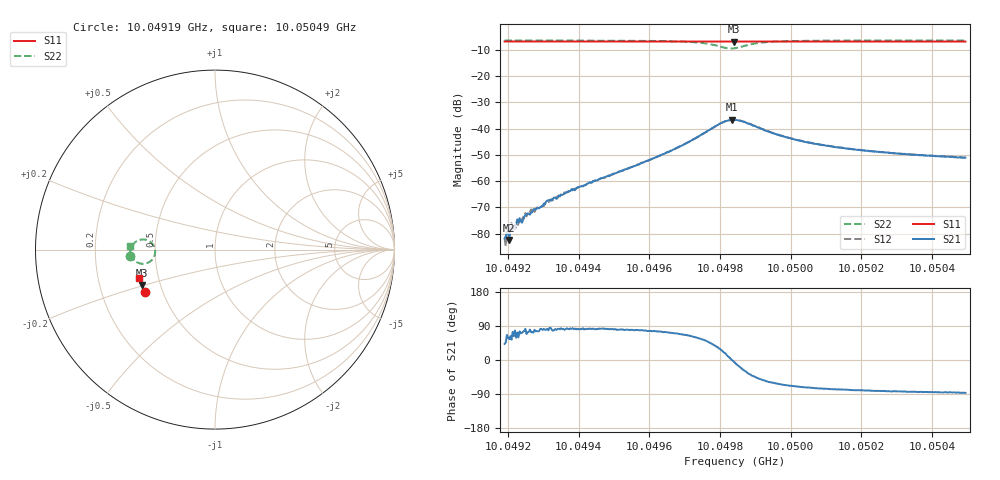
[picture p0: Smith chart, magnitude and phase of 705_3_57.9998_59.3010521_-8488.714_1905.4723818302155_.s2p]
#  HZ  S  RI  R  50.00
! Rohde & Schwarz Vector Network Analyzer
! Rohde-Schwarz,ZNB20-2Port,1311601062101988,3.16
! Created: UTC 3/21/2024, 1:21:57 AM
! freq[Hz]  re:S11  im:S11  re:S21  im:S21  re:S12  im:S12  re:S22  im:S22
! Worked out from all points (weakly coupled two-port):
!   401 points, 10.04919 GHz to 10.05049 GHz, reference 50 ohm
!   highest |S21| = -36.66 dB at 10.04983 GHz (marker M1); lowest = -82.4 dB at 10.0492 GHz (marker M2)
!   lowest |S11| = -6.9 dB at 10.04984 GHz (marker M3), VSWR 2.65, Z = 19.7 - j9.86 ohm
!   |S11| at or under -10 dB: nowhere
!   |S22| runs from -9.5 to -6.5 dB; largest |S21 - S12| = 0.0014
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1.004919e10  -0.3878 -0.2369  6e-05 5.49e-05  4.87e-05 6.3e-05  -0.4736 -0.0369
1.0049197e10  -0.388 -0.2365  4.45e-05 0.0001  3.21e-05 8.17e-05  -0.4737 -0.0363
1.0049203e10  -0.3883 -0.2362  4.32e-05 6.2e-05  5.01e-05 0.000103  -0.4737 -0.0358
1.004921e10  -0.3884 -0.2356  6.77e-05 9.16e-05  8.51e-05 0.000134  -0.4736 -0.0352
1.0049226e10  -0.389 -0.2347  5.55e-05 0.000178  5.09e-05 0.000124  -0.4736 -0.0339
1.0049236e10  -0.3893 -0.2343  5.76e-05 0.00016  8.49e-06 0.00016  -0.4736 -0.0329
1.0049255e10  -0.39 -0.233  7.16e-05 0.000233  3.42e-05 0.000247  -0.4737 -0.0311
1.0049291e10  -0.3911 -0.231  4.54e-05 0.000317  4.91e-05 0.000309  -0.4736 -0.0278
1.0049314e10  -0.392 -0.2296  8.63e-05 0.000418  4.9e-05 0.000393  -0.4734 -0.0256
1.0049409e10  -0.3948 -0.2241  0.000122 0.000793  7.26e-05 0.000795  -0.4727 -0.0157
1.0049627e10  -0.4013 -0.2111  0.000761 0.00289  0.000592 0.00293  -0.4635 0.0179
1.0049699e10  -0.4033 -0.2067  0.00198 0.0046  0.0017 0.00474  -0.449 0.0374
1.0049777e10  -0.4049 -0.2016  0.00743 0.00685  0.00695 0.00728  -0.3936 0.0563
1.004981e10  -0.4054 -0.1998  0.0124 0.00475  0.0119 0.00561  -0.349 0.0321
1.0049832e10  -0.4057 -0.199  0.0147 0.000117  0.0145 0.00148  -0.3333 -0.0121
1.0049839e10  -0.4057 -0.1987  0.0146 -0.00117  0.0147 -0.000133  -0.3349 -0.026
1.0049842e10  -0.4059 -0.1986  0.0145 -0.00193  0.0145 -0.000905  -0.3368 -0.0327
1.0049875e10  -0.407 -0.1973  0.0109 -0.00677  0.0115 -0.00616  -0.3781 -0.075
1.0049924e10  -0.4089 -0.1944  0.00559 -0.00751  0.00617 -0.00728  -0.4313 -0.0725
1.0050061e10  -0.4128 -0.1861  0.00149 -0.00504  0.00179 -0.00501  -0.4676 -0.0323
1.0050279e10  -0.4183 -0.1727  0.000471 -0.00339  0.00065 -0.00341  -0.4743 -0.000623
1.0050495e10  -0.4233 -0.1595  0.000156 -0.0028  0.000344 -0.00281  -0.4748 0.0199
